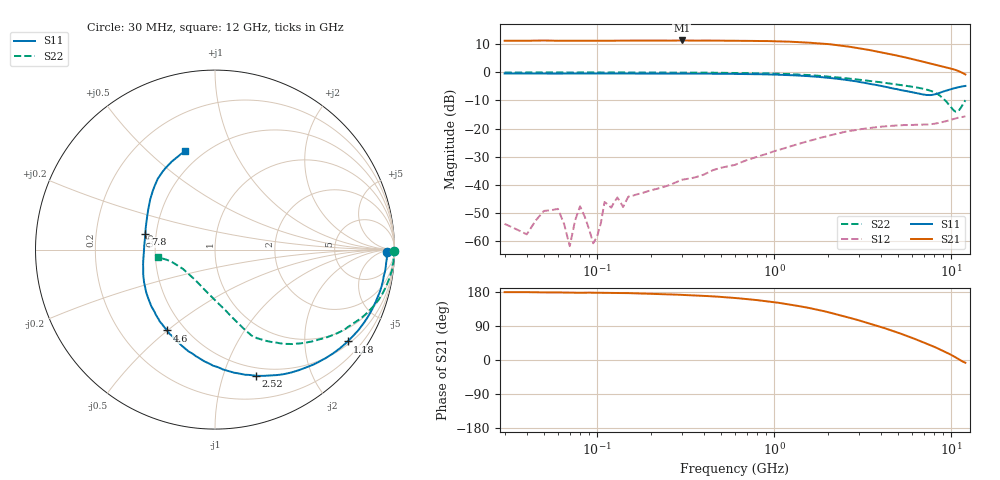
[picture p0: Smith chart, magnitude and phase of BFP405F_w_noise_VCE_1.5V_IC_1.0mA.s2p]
! Infineon Technologies  Discrete & RF Semiconductors
! BFP405F
! VCE =  1.5 V,  IC =  1.0 mA
! Common Emitter S-Parameters:  Nov 2015
# GHz  S  MA  R  50
!  f  S11  S21  S12  S22
! GHz  MAG  ANG  MAG  ANG  MAG  ANG  MAG  ANG
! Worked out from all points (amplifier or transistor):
!   239 points, 30 MHz to 12 GHz, reference 50 ohm
!   highest |S21| = 11.4 dB at 300 MHz (marker M1)
!   |S21| within 3 dB of that: start of sweep to 3.173 GHz
!   unconditionally stable (mu >= 1): 69.55 MHz to 70.71 MHz; 4.706 GHz to end of sweep
!   at 300 MHz: K = 0.02, MSG = 24.8 dB, |S12| = -38.3 dB
!   at 1.88 GHz: K = 0.24, MSG = 16.7 dB, |S12| = -23.1 dB
!   at 12 GHz: K = 2.01, MAG = 1.7 dB, |S12| = -15.6 dB
!   lowest NFmin = 0.95 dB at 450 MHz
!   S11 on the Smith chart (normalised r, x): 30 MHz: 42, -16; 1.18 GHz: 0.58, -3.10; 2.52 GHz: 0.42, -1.29; 4.6 GHz: 0.40, -0.50; 7.8 GHz: 0.44, +0.09; 12 GHz: 0.40, +0.66
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0.03  0.9591 -0.9  3.667 179.0  0.002 108.5  0.9965 -0.6
0.04  0.9559 -1.2  3.666 179.1  0.0013 93.8  0.999 -0.7
0.05  0.9563 -1.5  3.711 178.4  0.0034 85.2  1 -0.9
0.06  0.9544 -1.5  3.665 178.3  0.0037 63.9  0.9971 -0.8
0.07  0.9592 -2.1  3.684 177.7  0.0008 -8.3  0.9948 -1.0
0.08  0.9562 -2.4  3.665 177.4  0.0041 42.6  0.9983 -1.2
0.085  0.9572 -2.5  3.673 177.6  0.0027 54.6  0.9991 -1.4
0.095  0.9587 -2.8  3.675 177.6  0.0009 127.1  0.998 -1.7
0.11  0.9581 -3.3  3.669 177.1  0.0049 60.8  0.9962 -1.8
0.14  0.9563 -4.2  3.691 176.7  0.004 99.4  0.9986 -2.3
0.24  0.9554 -7.0  3.69 173.6  0.0092 89.4  0.9964 -4.2
0.3  0.9519 -8.8  3.714 171.9  0.0122 85.2  0.9924 -5.1
0.6  0.9422 -17.6  3.664 163.6  0.0225 82.5  0.9812 -10.3
1.18  0.899 -34.7  3.545 147.6  0.0461 72.7  0.9376 -19.6
1.64  0.8495 -47.8  3.354 135.5  0.0623 65.3  0.8883 -26.4
2.52  0.7387 -72.0  2.938 114.5  0.0876 51.1  0.7897 -38.3
3.2  0.655 -88.6  2.619 100.7  0.0988 42.5  0.7258 -45.6
4.5  0.5332 -118.3  2.121 79.4  0.111 31.1  0.6357 -55.2
4.6  0.523 -120.6  2.091 77.8  0.1117 30.2  0.6297 -55.8
7.8  0.3977 167.4  1.411 36.9  0.1201 22.1  0.4594 -70.6
10.6  0.5312 121.3  1.103 6.5  0.1522 19.7  0.1998 -128.6
12  0.5744 106.7  0.921 -7.2  0.1652 16.9  0.3199 -172.5
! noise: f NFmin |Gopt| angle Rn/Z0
0.45  0.95  0.71  8  0.64
0.9  0.98  0.67  15  0.67
1.5  1.19  0.65  22  0.58
1.9  1.27  0.61  31  0.56
2.4  1.5  0.57  41  0.57
3  1.58  0.55  52  0.52
3.5  1.65  0.54  62  0.48
4.5  1.9  0.46  83  0.38
5.5  2.29  0.32  105  0.28
